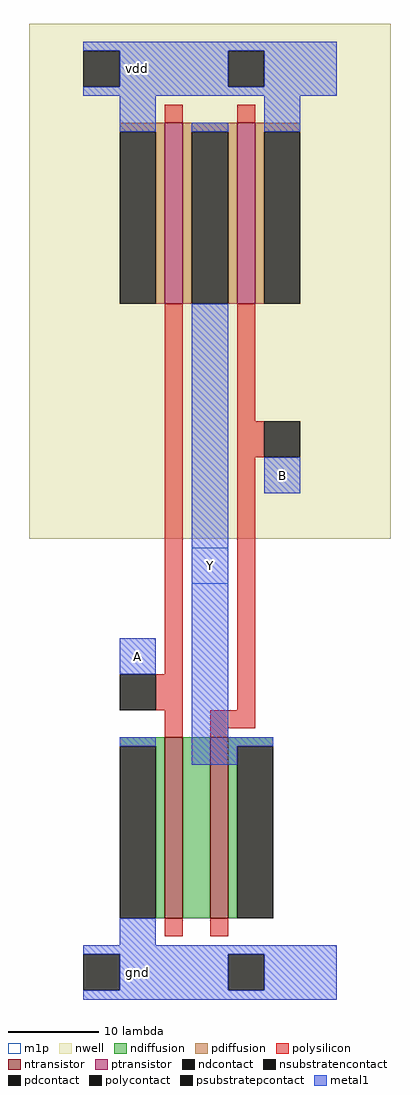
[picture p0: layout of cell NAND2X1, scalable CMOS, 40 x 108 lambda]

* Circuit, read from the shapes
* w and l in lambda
.subckt NAND2X1 A B Y gnd vdd
M1 n1 A gnd gnd nfet w=20 l=2
M2 Y B n1 gnd nfet w=20 l=2
M3 Y A vdd vdd pfet w=20 l=2
M4 vdd B Y vdd pfet w=20 l=2
.ends

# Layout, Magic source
magic
tech scmos
<< nwell >>
rect -8 48 32 105
<< ntransistor >>
rect 7 6 9 26
rect 12 6 14 26
<< ptransistor >>
rect 7 74 9 94
rect 15 74 17 94
<< ndiffusion >>
rect 2 25 7 26
rect 6 6 7 25
rect 9 6 12 26
rect 14 25 19 26
rect 14 6 15 25
<< pdiffusion >>
rect 2 93 7 94
rect 6 74 7 93
rect 9 93 15 94
rect 9 74 10 93
rect 14 74 15 93
rect 17 93 22 94
rect 17 74 18 93
<< ndcontact >>
rect 2 6 6 25
rect 15 6 19 25
<< pdcontact >>
rect 2 74 6 93
rect 10 74 14 93
rect 18 74 22 93
<< psubstratepcontact >>
rect -2 -2 2 2
rect 14 -2 18 2
<< nsubstratencontact >>
rect -2 98 2 102
rect 14 98 18 102
<< polysilicon >>
rect 7 94 9 96
rect 15 94 17 96
rect 7 33 9 74
rect 6 29 9 33
rect 15 61 17 74
rect 15 57 18 61
rect 15 29 17 57
rect 7 26 9 29
rect 12 27 17 29
rect 12 26 14 27
rect 7 4 9 6
rect 12 4 14 6
<< polycontact >>
rect 2 29 6 33
rect 18 57 22 61
<< metal1 >>
rect -2 102 26 103
rect 2 98 14 102
rect 18 98 26 102
rect -2 97 26 98
rect 2 93 6 97
rect 10 93 14 94
rect 18 93 22 97
rect 2 33 6 37
rect 10 26 14 74
rect 18 53 22 57
rect 2 25 6 26
rect 10 25 19 26
rect 10 23 15 25
rect 2 3 6 6
rect -2 2 26 3
rect 2 -2 14 2
rect 18 -2 26 2
rect -2 -3 26 -2
<< m1p >>
rect 18 53 22 57
rect 10 43 14 47
rect 2 33 6 37
<< labels >>
rlabel metal1 4 100 4 100 4 vdd
rlabel metal1 12 45 12 45 4 Y
rlabel metal1 4 0 4 0 4 gnd
rlabel metal1 4 35 4 35 4 A
rlabel metal1 20 55 20 55 4 B
<< end >>
